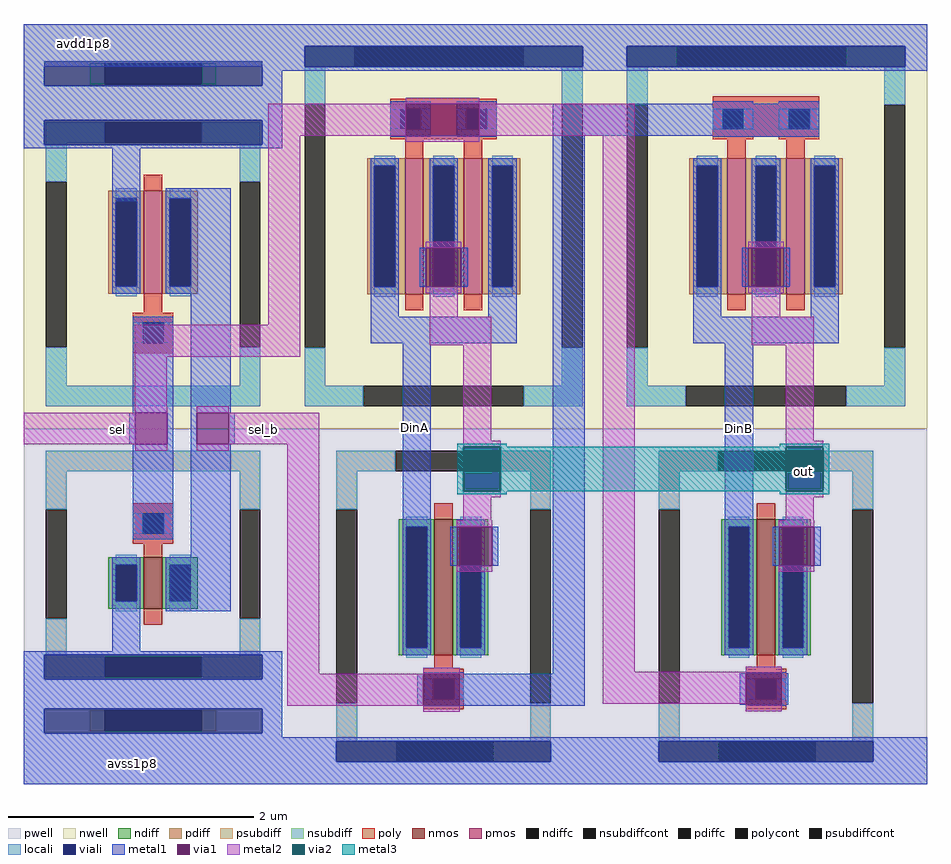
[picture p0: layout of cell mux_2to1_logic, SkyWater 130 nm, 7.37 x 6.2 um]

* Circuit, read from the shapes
.subckt mux_2to1_logic DinA DinB avdd1p8 avss1p8 out sel sel_b
XM1 sel_b sel avss1p8 avss1p8 sky130_fd_pr__nfet_01v8 w=0.42 l=0.15
XM2 out sel_b DinA avss1p8 sky130_fd_pr__nfet_01v8 w=1.11 l=0.15
XM3 out sel DinB avss1p8 sky130_fd_pr__nfet_01v8 w=1.11 l=0.15
XM4 sel_b sel avdd1p8 avdd1p8 sky130_fd_pr__pfet_01v8 w=0.84 l=0.15
XM5 out sel DinA avdd1p8 sky130_fd_pr__pfet_01v8 w=1.11 l=0.15 m=2
XM6 out sel_b DinB avdd1p8 sky130_fd_pr__pfet_01v8 w=1.11 l=0.15 m=2
.ends

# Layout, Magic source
magic
tech sky130A
magscale 1 2
<< nwell >>
rect -475 579 -53 607
rect 64 537 341 571
rect 509 537 963 571
<< pwell >>
rect -53 -584 -1 -53
rect -475 -633 -1 -584
rect 421 -633 525 -53
rect 561 -597 911 -563
rect 947 -633 999 -53
<< psubdiff >>
rect 109 -597 133 -563
rect 291 -597 315 -563
rect 561 -597 659 -563
rect 817 -597 911 -563
<< nsubdiff >>
rect 509 537 590 571
rect 867 537 963 571
<< psubdiffcont >>
rect 133 -597 291 -563
rect 659 -597 817 -563
<< nsubdiffcont >>
rect 64 537 341 571
rect 590 537 867 571
<< poly >>
rect 123 419 297 485
rect 649 423 823 489
<< viali >>
rect -17 537 64 571
rect 64 537 341 571
rect 341 537 437 571
rect 509 537 590 571
rect 590 537 867 571
rect 867 537 963 571
rect 35 -597 133 -563
rect 133 -597 291 -563
rect 291 -597 385 -563
rect 561 -597 659 -563
rect 659 -597 817 -563
rect 817 -597 911 -563
<< metal1 >>
rect -475 571 999 607
rect -475 537 -17 571
rect 437 537 509 571
rect 963 537 999 571
rect -57 531 999 537
rect 138 425 148 477
rect 268 425 278 477
rect 388 425 823 477
rect 171 178 181 242
rect 239 178 249 242
rect 94 170 137 178
rect 91 129 137 170
rect 283 129 329 166
rect 91 86 329 129
rect 143 -204 189 86
rect 221 -277 231 -213
rect 289 -277 299 -213
rect 388 -453 440 425
rect 649 423 823 425
rect 697 178 707 242
rect 765 178 775 242
rect 620 170 663 178
rect 617 129 663 170
rect 809 129 855 166
rect 617 86 855 129
rect 669 -204 715 86
rect 747 -277 757 -213
rect 815 -277 825 -213
rect 167 -505 177 -453
rect 236 -505 440 -453
rect 693 -504 703 -452
rect 762 -504 772 -452
rect -475 -557 -53 -554
rect -475 -563 999 -557
rect -475 -597 35 -563
rect 385 -597 561 -563
rect 911 -597 999 -563
rect -475 -633 999 -597
<< via1 >>
rect 148 425 268 477
rect 181 178 239 242
rect 231 -277 289 -213
rect 707 178 765 242
rect 757 -277 815 -213
rect 177 -505 236 -453
rect 703 -504 762 -452
<< metal2 >>
rect 148 477 268 487
rect -76 425 148 477
rect 268 425 522 477
rect -76 116 -24 425
rect 148 415 268 425
rect 181 242 239 252
rect 181 168 239 178
rect -294 64 -24 116
rect 187 129 233 168
rect 187 83 288 129
rect -294 -27 -242 64
rect -345 -79 -242 -27
rect -105 -79 7 -27
rect -45 -453 7 -79
rect 242 -73 288 83
rect 242 -83 303 -73
rect 242 -165 303 -155
rect 242 -203 288 -165
rect 231 -213 289 -203
rect 231 -287 289 -277
rect 177 -453 236 -443
rect -45 -505 177 -453
rect 470 -450 522 425
rect 707 242 765 252
rect 707 168 765 178
rect 713 129 759 168
rect 713 83 814 129
rect 768 -73 814 83
rect 768 -83 829 -73
rect 768 -165 829 -155
rect 768 -203 814 -165
rect 757 -213 815 -203
rect 757 -287 815 -277
rect 703 -450 762 -442
rect 470 -452 762 -450
rect 470 -502 703 -452
rect 177 -515 236 -505
rect 703 -514 762 -504
<< via2 >>
rect 242 -155 303 -83
rect 768 -155 829 -83
<< metal3 >>
rect 232 -83 313 -78
rect 758 -83 839 -78
rect 232 -155 242 -83
rect 303 -155 768 -83
rect 829 -155 839 -83
rect 232 -160 313 -155
rect 758 -160 839 -155
use sky130_fd_pr__pfet_01v8_XA7ZMQ  sky130_fd_pr__pfet_01v8_XA7ZMQ_0
transform 1 0 210 0 1 277
box -263 -330 263 330
use inverter_min  inverter_min_0 
transform 1 0 -422 0 1 -600
box -53 16 369 1179
use sky130_fd_pr__nfet_01v8_HAN8QX  sky130_fd_pr__nfet_01v8_HAN8QX_1
transform 1 0 736 0 -1 -343
box -211 -290 211 290
use sky130_fd_pr__pfet_01v8_XA7ZMQ  sky130_fd_pr__pfet_01v8_XA7ZMQ_1
transform 1 0 736 0 1 277
box -263 -330 263 330
use sky130_fd_pr__nfet_01v8_HAN8QX  sky130_fd_pr__nfet_01v8_HAN8QX_0
transform 1 0 210 0 -1 -343
box -211 -290 211 290
<< labels >>
rlabel metal2 -332 -64 -311 -46 1 sel
rlabel metal2 -94 -63 -73 -45 1 sel_b
rlabel metal1 152 -61 173 -43 1 DinA
rlabel metal1 681 -62 702 -44 1 DinB
rlabel via2 786 -132 807 -114 1 out
rlabel metal1 -390 563 -366 588 1 avdd1p8
rlabel metal1 -310 -612 -286 -587 1 avss1p8
<< end >>

# cell sky130_fd_pr__pfet_01v8_XA7ZMQ: kit device sky130_fd_pr__pfet_01v8, w 1.11 l 0.15 m 1 nf 2 diffcov 100 polycov 100 guard 1 glc 1 grc 1 gtc 1 gbc 1 tbcov 100 rlcov 100 topc 1 botc 1 poverlap 0 doverlap 1 lmin 0.15 wmin 0.42 compatible {sky130_fd_pr__pfet_01v8 sky130_fd_pr__pfet_01v8_lvt sky130_fd_pr__pfet_01v8_hvt sky130_fd_pr__pfet_g5v0d10v5} full_metal 1 viasrc 100 viadrn 100 viagate 100 viagb 0 viagr 0 viagl 0 viagt 0

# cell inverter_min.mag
magic
tech sky130A
magscale 1 2
<< nwell >>
rect -53 1083 369 1179
<< pwell >>
rect -53 112 355 124
rect -53 16 369 112
<< psubdiff >>
rect 55 53 79 87
rect 237 53 261 87
<< nsubdiff >>
rect 55 1109 79 1143
rect 237 1109 261 1143
<< psubdiffcont >>
rect 79 53 237 87
<< nsubdiffcont >>
rect 79 1109 237 1143
<< viali >>
rect -20 1143 336 1146
rect -20 1109 79 1143
rect 79 1109 237 1143
rect 237 1109 336 1143
rect -20 1106 336 1109
rect -20 1010 336 1050
rect -20 138 336 178
rect -20 87 336 90
rect -20 53 79 87
rect 79 53 237 87
rect 237 53 336 87
rect -20 50 336 53
<< metal1 >>
rect -53 1146 369 1152
rect -53 1106 -20 1146
rect 336 1106 369 1146
rect -53 1050 369 1106
rect -53 1010 -20 1050
rect 336 1010 369 1050
rect -53 1004 369 1010
rect 91 918 137 1004
rect 179 922 285 939
rect 125 573 191 729
rect 119 521 129 573
rect 181 521 191 573
rect 125 366 191 521
rect 219 573 285 922
rect 219 521 229 573
rect 281 521 291 573
rect 219 337 285 521
rect 91 184 137 257
rect 179 249 285 337
rect -53 178 369 184
rect -53 138 -20 178
rect 336 138 369 178
rect -53 90 369 138
rect -53 50 -20 90
rect 336 50 369 90
rect -53 44 369 50
<< via1 >>
rect 129 521 181 573
rect 229 521 281 573
<< metal2 >>
rect 129 573 181 583
rect -53 521 129 573
rect 129 511 181 521
rect 229 573 281 583
rect 281 521 369 573
rect 229 511 281 521
use sky130_fd_pr__nfet_01v8_L78GGD  XM1
transform 1 0 158 0 1 326
box -211 -221 211 221
use sky130_fd_pr__pfet_01v8_6RX2PQ  XM2
transform 1 0 158 0 1 815
box -211 -268 211 268
<< labels >>
rlabel metal1 -53 1050 369 1106 1 vdd
port 1 n
rlabel metal2 -53 521 129 573 1 in
port 3 n
rlabel metal2 281 521 369 573 1 out
port 2 n
rlabel metal1 -53 90 369 138 1 vss
port 4 n
<< end >>

# cell sky130_fd_pr__nfet_01v8_HAN8QX: kit device sky130_fd_pr__nfet_01v8, w 1.11 l 0.150 m 1 nf 1 diffcov 100 polycov 100 guard 1 glc 1 grc 1 gtc 0 gbc 1 tbcov 100 rlcov 100 topc 1 botc 0 poverlap 0 doverlap 1 lmin 0.15 wmin 0.42 compatible {sky130_fd_pr__nfet_01v8 sky130_fd_pr__nfet_01v8_lvt sky130_fd_bs_flash__special_sonosfet_star sky130_fd_pr__nfet_g5v0d10v5 sky130_fd_pr__nfet_05v0_nvt sky130_fd_pr__nfet_03v3_nvt} full_metal 1 viasrc 100 viadrn 100 viagate 100 viagb 0 viagr 0 viagl 0 viagt 0

# cell sky130_fd_pr__nfet_01v8_L78GGD: kit device sky130_fd_pr__nfet_01v8, w 0.42 l 0.15 m 1 nf 1 diffcov 100 polycov 100 guard 1 glc 1 grc 1 gtc 0 gbc 1 tbcov 100 rlcov 100 topc 1 botc 0 poverlap 0 doverlap 1 lmin 0.15 wmin 0.42 compatible {sky130_fd_pr__nfet_01v8 sky130_fd_pr__nfet_01v8_lvt sky130_fd_bs_flash__special_sonosfet_star sky130_fd_pr__nfet_g5v0d10v5 sky130_fd_pr__nfet_05v0_nvt sky130_fd_pr__nfet_03v3_nvt} full_metal 1 viasrc 100 viadrn 100 viagate 100 viagb 0 viagr 0 viagl 0 viagt 0

# cell sky130_fd_pr__pfet_01v8_6RX2PQ: kit device sky130_fd_pr__pfet_01v8, w 0.84 l 0.15 m 1 nf 1 diffcov 100 polycov 100 guard 1 glc 1 grc 1 gtc 1 gbc 0 tbcov 100 rlcov 100 topc 0 botc 1 poverlap 0 doverlap 1 lmin 0.15 wmin 0.42 compatible {sky130_fd_pr__pfet_01v8 sky130_fd_pr__pfet_01v8_lvt sky130_fd_pr__pfet_01v8_hvt sky130_fd_pr__pfet_g5v0d10v5} full_metal 1 viasrc 100 viadrn 100 viagate 100 viagb 0 viagr 0 viagl 0 viagt 0
